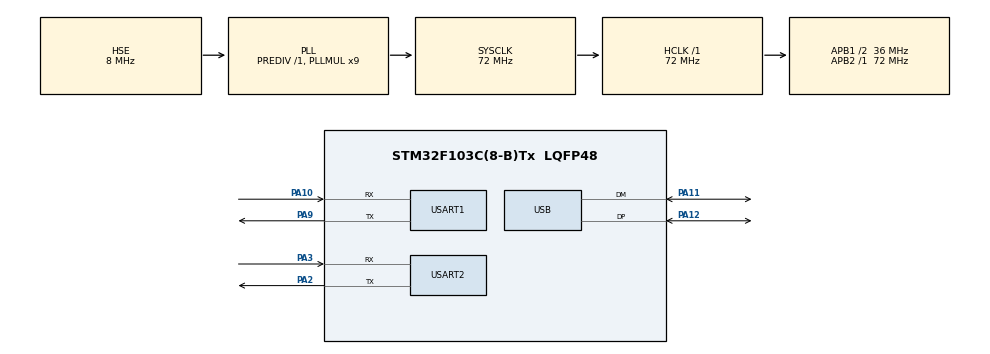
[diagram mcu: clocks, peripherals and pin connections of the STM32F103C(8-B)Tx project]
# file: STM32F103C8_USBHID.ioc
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Dma.Request0=USART2_RX
Dma.USART2_RX.0.Direction=DMA_PERIPH_TO_MEMORY
Dma.USART2_RX.0.Instance=DMA1_Channel6
Dma.USART2_RX.0.MemDataAlignment=DMA_MDATAALIGN_BYTE
Dma.USART2_RX.0.MemInc=DMA_MINC_ENABLE
Dma.USART2_RX.0.Mode=DMA_NORMAL
Dma.USART2_RX.0.PeriphDataAlignment=DMA_PDATAALIGN_BYTE
Dma.USART2_RX.0.PeriphInc=DMA_PINC_DISABLE
Dma.USART2_RX.0.Priority=DMA_PRIORITY_LOW
Mcu.Family=STM32F1
Mcu.Name=STM32F103C(8-B)Tx
Mcu.Package=LQFP48
NVIC.DMA1_Channel6_IRQn=true\:0\:0\:false\:false\:true\:false\:true\:true
NVIC.PriorityGroup=NVIC_PRIORITYGROUP_4
NVIC.USART2_IRQn=true\:0\:0\:false\:false\:true\:true\:true\:true
NVIC.USB_LP_CAN1_RX0_IRQn=true\:0\:0\:false\:false\:true\:false\:true\:true
PA10.Mode=Asynchronous
PA10.Signal=USART1_RX
PA11.Mode=Device
PA11.Signal=USB_DM
PA12.Mode=Device
PA12.Signal=USB_DP
PA13.Mode=Serial_Wire
PA13.Signal=SYS_JTMS-SWDIO
PA14.Mode=Serial_Wire
PA14.Signal=SYS_JTCK-SWCLK
PA2.Mode=Asynchronous
PA2.Signal=USART2_TX
PA3.Mode=Asynchronous
PA3.Signal=USART2_RX
PA9.Mode=Asynchronous
PA9.Signal=USART1_TX
PD0-OSC_IN.Mode=HSE-External-Oscillator
PD0-OSC_IN.Signal=RCC_OSC_IN
PD1-OSC_OUT.Mode=HSE-External-Oscillator
PD1-OSC_OUT.Signal=RCC_OSC_OUT
ProjectManager.HeapSize=0x200
ProjectManager.StackSize=0x400
ProjectManager.TargetToolchain=MDK-ARM V5.27
RCC.ADCPresc=RCC_ADCPCLK2_DIV6
RCC.AHBFreq_Value=72000000
RCC.APB1CLKDivider=RCC_HCLK_DIV2
RCC.APB1Freq_Value=36000000
RCC.APB1TimFreq_Value=72000000
RCC.APB2Freq_Value=72000000
RCC.APB2TimFreq_Value=72000000
RCC.HCLKFreq_Value=72000000
RCC.PLLMUL=RCC_PLL_MUL9
RCC.SYSCLKFreq_VALUE=72000000
RCC.SYSCLKSource=RCC_SYSCLKSOURCE_PLLCLK
RCC.USBFreq_Value=48000000
RCC.USBPrescaler=RCC_USBCLKSOURCE_PLL_DIV1_5
USART1.VirtualMode=VM_ASYNC
USART2.VirtualMode=VM_ASYNC
USB_DEVICE.CLASS_NAME_FS=CUSTOM_HID
USB_DEVICE.USBD_CUSTOMHID_OUTREPORT_BUF_SIZE=64
USB_DEVICE.USBD_CUSTOM_HID_REPORT_DESC_SIZE=97
USB_DEVICE.VirtualMode=CustomHid
USB_DEVICE.VirtualModeFS=Custom_Hid_FS
VP_USB_DEVICE_VS_USB_DEVICE_CUSTOM_HID_FS.Mode=CUSTOM_HID_FS
board=custom

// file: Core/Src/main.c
/* USER CODE BEGIN Header */
/**
 ******************************************************************************
 * @file           : main.c
 * @brief          : Main program body
 ******************************************************************************
 * @attention
 *
 * <h2><center>&copy; Copyright (c) 2023 STMicroelectronics.
 * All rights reserved.</center></h2>
 *
 * This software component is licensed by ST under Ultimate Liberty license
 * SLA0044, the "License"; You may not use this file except in compliance with
 * the License. You may obtain a copy of the License at:
 *                             www.st.com/SLA0044
 *
 *****************************************************************************
 */
/* USER CODE END Header */
#include "main.h"
#include "dma.h"
#include "usart.h"
#include "usb_device.h"
#include "gpio.h"

/* USER CODE BEGIN Includes */
#include "usbd_customhid.h"
#include "tm_stm32_usb_hid_device.h"
/* USER CODE END Includes */

/* USER CODE BEGIN Includes */
#include "stdio.h"
/* USER CODE END Includes */

/* USER CODE BEGIN PFP */
#ifdef __GNUC__                                    //重定向printf 到usart，保证测试输出
#define PUTCHAR_PROTOTYPE int __io_putchar(int ch)
#else
#define PUTCHAR_PROTOTYPE int fputc(int ch, FILE *f) // for printf
#endif
PUTCHAR_PROTOTYPE
{
    HAL_UART_Transmit(&huart1 , (uint8_t *)&ch, 1, 0xFFFF);
    return ch;
}
/* USER CODE END PFP */
/* USER CODE BEGIN PV */
extern USBD_HandleTypeDef hUsbDeviceFS;
extern TM_USB_HIDDEVICE_Gamepad_t Gamepad1;
extern TM_USB_HIDDEVICE_DualShock4_t DS4_1; // 手柄HID描述
extern TM_USB_HIDDEVICE_Status_t TM_USB_HIDDEVICE_INT_Status;

uint8_t buffer[10] = {0};
uint8_t buf[10] = {3, 5, 7, 9, 11, 13, 15, 19};
uint8_t rx_buf[12];
uint8_t tx_buf[] = {0x57, 0xAB, 0x12, 0x00,0x00,0x00,0x00,0xFF,0x80,0x00,0x20};
/*此为第一个bug点.初始化后立即清除ch9350陈旧请求报文，防止报文对指令产生干扰.
0	0x57	帧头标志 1，表示数据包开始。
1	0xAB	帧头标志 2，表示数据包的同步信号。
2	0x12	命令字节，用于指定清除报文的具体操作。
3-6	0x00	数据字段，默认状态字节。
7	0xFF	状态字段，可能表示目标设备应进入的清除状态。
8	0x80	参数字段，可能用于控制清除动作的具体细节。
9	0x00	保留字段或附加控制参数。
10	0x20	结束标志或校验字段，标识数据包完成。*/
int16_t angle, u8angle;
uint8_t init_done = 0;
/* USER CODE END PV */

void SystemClock_Config(void); //系统时钟配置
/* USER CODE BEGIN PFP */
void Key_Scan(void);
void D_PAD(TM_USB_HIDDEVICE_DualShock4_t *p);
void Systick_isr(void); //时钟中断
/* USER CODE END PFP */

/* USER CODE BEGIN 0 */

usartRecvType_t usart2Recv = {0};

int main(void)
{

  /* MCU Configuration--------------------------------------------------------*/

  /* Reset of all peripherals, Initializes the Flash interface and the Systick. */
  HAL_Init();

  /* USER CODE BEGIN Init */
  SysTick_Config(72000000 / 5000); //72Mhz / 50000 = 144000
  /* USER CODE END Init */

  /* Configure the system clock */
  SystemClock_Config();

  /* Initialize all configured peripherals */
  MX_GPIO_Init(); //GPIO配置
  MX_DMA_Init(); //DMA配置
  MX_USB_DEVICE_Init(); //USB设备
  MX_USART1_UART_Init(); //调试串口
  MX_USART2_UART_Init(); //ch9350串口
  /* USER CODE BEGIN 2 */
  TM_USB_HIDEVICE_DualShock4_StructInit(&DS4_1); //自定义模拟USB HID配置
  /* USER CODE END 2 */
	printf("hello world!\r\n");
  /* Infinite loop */
  /* USER CODE BEGIN WHILE */
	//HAL_UART_Receive_IT(&huart2, (uint8_t *)&usart2Recv.recvData, 1);
	__HAL_UART_ENABLE_IT(&huart2, UART_IT_IDLE); //串口空闲中断 (UART_IT_IDLE) 以检测数据帧的结束，结束后传输数据。
	HAL_UART_Receive_DMA(&huart2, (uint8_t*)usart2Recv.recvBuff, BUFF_MAX_SIZE);  //采用DMA传输，从 CH9350 的串口接收数据到缓冲区 usart2Recv.recvBuff
	HAL_UART_Transmit(&huart2, tx_buf, sizeof(tx_buf), 100); //发送响应指令
  while (1)
  {
    /* USER CODE END WHILE */
		//串口接收指令并处理
		if(usart2Recv.recvFlag)
    {
				for(uint8_t i = 0;i < 11;i++)
				{
					printf("%X ",usart2Recv.recvBuff[i]); //打印，确保数据正常格式输出
				}
				printf("\r\n");
				if(usart2Recv.recvBuff[0] == 0x57 && usart2Recv.recvBuff[1] == 0xAB)
				{
					if(usart2Recv.recvBuff[2] == 0x88) //功能码
					{
						usart2Recv.recvBuff[5] == 1 ? (DS4_1.L1 = 1): (DS4_1.L1 = 0); //检测左右键按键
						usart2Recv.recvBuff[5] == 2 ? (DS4_1.R1 = 1): (DS4_1.R1 = 0);
						usart2Recv.recvBuff[6] == 1 ? (DS4_1.LeftYAxis=127): (DS4_1.LeftYAxis=0);
						usart2Recv.recvBuff[7] == 1 ? (DS4_1.LeftYAxis=-127): (DS4_1.LeftYAxis=0);
						usart2Recv.recvBuff[8] == 1 ? (DS4_1.LeftXAxis=127): (DS4_1.LeftYAxis=0);
						usart2Recv.recvBuff[9] == 1 ? (DS4_1.LeftXAxis=-127): (DS4_1.LeftYAxis=0); //WASD键

						DS4_1.RightXAxis = usart2Recv.recvBuff[6] - 127; //鼠标速度映射为手柄摇杆偏移。因为是相对鼠标，发送的数据是每帧的位移，相当于速度
						DS4_1.RightYAxis = usart2Recv.recvBuff[7] - 127;

					}
				}
        usart2Recv.recvFlag = 0;
				usart2Recv.recvNum = 0;
				memset(usart2Recv.recvBuff,0,BUFF_MAX_SIZE); //清空串口数据
     }
    init_done ++;
    if(init_done > 101)
    init_done = 101;
  }
  /* USER CODE END 3 */
}

void SystemClock_Config(void)
{
  RCC_OscInitTypeDef RCC_OscInitStruct = {0};
  RCC_ClkInitTypeDef RCC_ClkInitStruct = {0};
  RCC_PeriphCLKInitTypeDef PeriphClkInit = {0};

  /** Initializes the RCC Oscillators according to the specified parameters
  * in the RCC_OscInitTypeDef structure.
  */
  RCC_OscInitStruct.OscillatorType = RCC_OSCILLATORTYPE_HSE;
  RCC_OscInitStruct.HSEState = RCC_HSE_ON;
  RCC_OscInitStruct.HSEPredivValue = RCC_HSE_PREDIV_DIV1;
  RCC_OscInitStruct.HSIState = RCC_HSI_ON;
  RCC_OscInitStruct.PLL.PLLState = RCC_PLL_ON;
  RCC_OscInitStruct.PLL.PLLSource = RCC_PLLSOURCE_HSE;
  RCC_OscInitStruct.PLL.PLLMUL = RCC_PLL_MUL9;
  if (HAL_RCC_OscConfig(&RCC_OscInitStruct) != HAL_OK)
  {
    Error_Handler();
  }
  /** Initializes the CPU, AHB and APB buses clocks
  */
  RCC_ClkInitStruct.ClockType = RCC_CLOCKTYPE_HCLK|RCC_CLOCKTYPE_SYSCLK
                              |RCC_CLOCKTYPE_PCLK1|RCC_CLOCKTYPE_PCLK2;
  RCC_ClkInitStruct.SYSCLKSource = RCC_SYSCLKSOURCE_PLLCLK;
  RCC_ClkInitStruct.AHBCLKDivider = RCC_SYSCLK_DIV1;
  RCC_ClkInitStruct.APB1CLKDivider = RCC_HCLK_DIV2;
  RCC_ClkInitStruct.APB2CLKDivider = RCC_HCLK_DIV1;

  if (HAL_RCC_ClockConfig(&RCC_ClkInitStruct, FLASH_LATENCY_2) != HAL_OK)
  {
    Error_Handler();
  }
  PeriphClkInit.PeriphClockSelection = RCC_PERIPHCLK_USB;
  PeriphClkInit.UsbClockSelection = RCC_USBCLKSOURCE_PLL_DIV1_5;
  if (HAL_RCCEx_PeriphCLKConfig(&PeriphClkInit) != HAL_OK)
  {
    Error_Handler();
  }
}

void Systick_isr(void)
{
  if (init_done >= 100)
  TM_USB_HIDDEVICE_DualShock4_Send(0x01, &DS4_1);
}
/* USER CODE END 4 */

void Error_Handler(void)
{
  __disable_irq();
  while (1)
  {
  }
}

/************************ (C) COPYRIGHT STMicroelectronics *****END OF FILE****/
